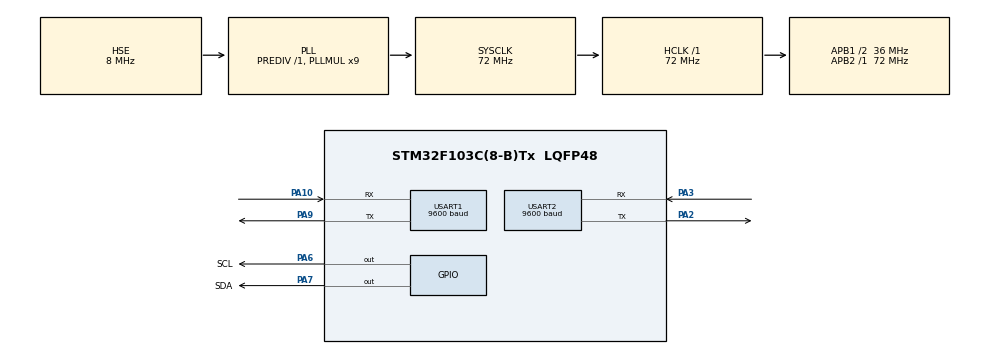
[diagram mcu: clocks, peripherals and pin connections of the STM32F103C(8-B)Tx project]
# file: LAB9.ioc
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FREERTOS.Queues01=uartRxQueue,64,uint8_t,0,Dynamic,NULL,NULL;frameQueue,3,RxFrame_t,0,Dynamic,NULL,NULL
FREERTOS.Tasks01=TaskUartRx,32,128,StartTaskUartRx,Default,NULL,Dynamic,NULL,NULL;TaskDisplay,8,256,StartTaskDisplay,Default,NULL,Dynamic,NULL,NULL
FREERTOS.configCHECK_FOR_STACK_OVERFLOW=2
FREERTOS.configTOTAL_HEAP_SIZE=4096
FREERTOS.configUSE_MALLOC_FAILED_HOOK=1
Mcu.Family=STM32F1
Mcu.Name=STM32F103C(8-B)Tx
Mcu.Package=LQFP48
NVIC.PriorityGroup=NVIC_PRIORITYGROUP_4
NVIC.USART1_IRQn=true\:5\:0\:false\:false\:true\:true\:true\:true\:true
NVIC.USART2_IRQn=true\:5\:0\:false\:false\:true\:true\:true\:true\:true
PA10.Mode=Asynchronous
PA10.Signal=USART1_RX
PA2.Mode=Asynchronous
PA2.Signal=USART2_TX
PA3.Mode=Asynchronous
PA3.Signal=USART2_RX
PA6.GPIO_Label=SCL
PA6.GPIO_ModeDefaultOutputPP=GPIO_MODE_OUTPUT_OD
PA6.GPIO_PuPd=GPIO_PULLUP
PA6.GPIO_Speed=GPIO_SPEED_FREQ_HIGH
PA6.PinState=GPIO_PIN_SET
PA6.Signal=GPIO_Output
PA7.GPIO_Label=SDA
PA7.GPIO_ModeDefaultOutputPP=GPIO_MODE_OUTPUT_OD
PA7.GPIO_PuPd=GPIO_PULLUP
PA7.GPIO_Speed=GPIO_SPEED_FREQ_HIGH
PA7.PinState=GPIO_PIN_SET
PA7.Signal=GPIO_Output
PA9.Mode=Asynchronous
PA9.Signal=USART1_TX
PC14-OSC32_IN.Mode=LSE-External-Oscillator
PC14-OSC32_IN.Signal=RCC_OSC32_IN
PC15-OSC32_OUT.Mode=LSE-External-Oscillator
PC15-OSC32_OUT.Signal=RCC_OSC32_OUT
PD0-OSC_IN.Mode=HSE-External-Oscillator
PD0-OSC_IN.Signal=RCC_OSC_IN
PD1-OSC_OUT.Mode=HSE-External-Oscillator
PD1-OSC_OUT.Signal=RCC_OSC_OUT
ProjectManager.HeapSize=0x200
ProjectManager.StackSize=0x400
ProjectManager.TargetToolchain=CMake
RCC.AHBFreq_Value=72000000
RCC.APB1CLKDivider=RCC_HCLK_DIV2
RCC.APB1Freq_Value=36000000
RCC.APB1TimFreq_Value=72000000
RCC.APB2Freq_Value=72000000
RCC.APB2TimFreq_Value=72000000
RCC.HCLKFreq_Value=72000000
RCC.PLLMUL=RCC_PLL_MUL9
RCC.PLLSourceVirtual=RCC_PLLSOURCE_HSE
RCC.SYSCLKFreq_VALUE=72000000
RCC.SYSCLKSource=RCC_SYSCLKSOURCE_PLLCLK
RCC.USBFreq_Value=72000000
USART1.BaudRate=9600
USART1.VirtualMode=VM_ASYNC
USART2.BaudRate=9600
USART2.VirtualMode=VM_ASYNC
VP_FREERTOS_VS_CMSIS_V2.Mode=CMSIS_V2
VP_SYS_VS_ND.Mode=No_Debug
board=custom

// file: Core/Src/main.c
/* USER CODE BEGIN Header */
/**
  ******************************************************************************
  * @file    main.c
  * @brief   分拣器控制器（LAB9）
  *
  * 功能：
  *   接收上位机下发的分拣指令，解析出四个方向各有哪些货物，
  *   在 OLED 上以「上 / 下 / 左 / 右 + 货物名」四行显示。
  *
  * 下行报文（USART1，9600 8N1）：
  *   {"Down":"GoodC,GoodD","Up":"GoodA","Left":"","Right":""}\r\n
  *   货物名前的 "Good" 前缀不区分大小写，显示前会被去掉。
  *
  * 帧完整性判定：只有同时见到 '}' 与行结束符 '\n' 才认为一帧完整，
  *               避免把半截 JSON 当成完整帧解析。
  *
  * USART2 作为调试输出口，上电打印一次 "UART READY"。
  *
  * 模块划分：
  *   OLED/oled.c                 SSD1306 驱动（8x16 字符 + 16x16 汉字）
  *   SOFT_I2C/soft_i2c.c         软件模拟 I²C
  *   JSON_PARSER/json_parser.c   从 JSON 中取字段、去 "Good" 前缀
  ******************************************************************************
  */
/* USER CODE END Header */
#include "main.h"
#include "cmsis_os.h"
#include "usart.h"
#include "gpio.h"

/* USER CODE BEGIN Includes */
#include "oled.h"
#include "json_parser.h"
#include "uart_rx.h"
#include <string.h>
#include <stdint.h>
/* USER CODE END Includes */

/* USER CODE BEGIN PV */

/* 串口单字节接收缓冲（交给 HAL 使用） */
uint8_t rx_byte;

/* 队列由 CubeMX 在 freertos.c 里创建
   （FREERTOS -> Tasks and Queues -> Queues） */
extern osMessageQueueId_t uartRxQueueHandle;   /* 中断收字节 -> TaskUartRx */

/* 裸机版那套 uart_rx_buf / rx_idx / rx_saw_brace / frame_buffer / frame_ready
   全部删掉了：
     - 攒帧逻辑搬进了 UART_RX/uart_rx.c（由 TaskUartRx 调用）
     - "中断发布整帧、主循环读取"的双缓冲被 frameQueue 取代
   原来的单缓冲有个真实缺陷：刷屏要 60ms，这期间到达的新帧会直接覆盖掉
   上一帧。现在帧进队列，队列满时明确丢最旧的一帧（见 freertos.c 的
   TaskUartRx），主机最后发的那条指令不会丢。 */

/* USER CODE END PV */

void SystemClock_Config(void);
void MX_FREERTOS_Init(void);
/* USER CODE BEGIN PFP */
void App_ProcessFrame(const char *line);
/* USER CODE END PFP */

/* USER CODE BEGIN 0 */

/**
  * @brief  处理一帧分拣指令：解析四个方向 -> 去 Good 前缀 -> 刷新 OLED
  * @param  line 一整帧 JSON，由 TaskDisplay 从 frameQueue 取出后传入
  * @note   由 TaskDisplay 调用（最低优先级，刷一屏约 60ms）。
  *
  *         裸机版这里要先关中断把 frame_buffer 整个拷进 local_buf 再解析；
  *         现在字节走队列、帧也走队列，传进来的本来就是任务私有的一份副本，
  *         那 256 字节的拷贝和临界区可以整个删掉。
  */
void App_ProcessFrame(const char *line)
{
    char down[30]  = {0};//作用是存储从JSON中解析出来的"Down"方向的货物名
    char up[30]    = {0};//作用是存储从JSON中解析出来的"Up"方向的货物名
    char left[30]  = {0};//作用是存储从JSON中解析出来的"Left"方向的货物名
    char right[30] = {0};//作用是存储从JSON中解析出来的"Right"方向的货物名

    Json_GetValue(line, "Down",  down,  sizeof(down));
    Json_GetValue(line, "Up",    up,    sizeof(up));
    Json_GetValue(line, "Left",  left,  sizeof(left));
    Json_GetValue(line, "Right", right, sizeof(right));

    /* 去掉货物名前的 "Good" 前缀，例如 "GoodA,GoodB" -> "A,B" */
    Json_StripGoodPrefix(down,  sizeof(down));
    Json_StripGoodPrefix(up,    sizeof(up));
    Json_StripGoodPrefix(left,  sizeof(left));
    Json_StripGoodPrefix(right, sizeof(right));

    /* 四行显示：方向用 16x16 汉字，货物名用 8x16 字符 */
    OLED_Clear();
    OLED_ShowChinese(0, 0, 0);      /* 上 */
    OLED_ShowString(20, 0, up);
    OLED_ShowChinese(0, 2, 1);      /* 下 */
    OLED_ShowString(20, 2, down);
    OLED_ShowChinese(0, 4, 2);      /* 左 */
    OLED_ShowString(20, 4, left);
    OLED_ShowChinese(0, 6, 3);      /* 右 */
    OLED_ShowString(20, 6, right);
}

/* USER CODE END 0 */

int main(void)
{

  /* MCU Configuration--------------------------------------------------------*/

  /* Reset of all peripherals, Initializes the Flash interface and the Systick. */
  HAL_Init();

  /* Configure the system clock */
  SystemClock_Config();

  /* Initialize all configured peripherals */
  MX_GPIO_Init();
  MX_USART1_UART_Init();
  MX_USART2_UART_Init();
  /* USER CODE BEGIN 2 */
    SoftI2C_Init();
    OLED_Init();
    OLED_Clear();
    OLED_ShowMiniStr(0, 2, "WAIT DATA");

    /* 调试口打招呼。长度用 strlen 取，不手写数字 */
    {
        static const char msg_ready[] = "UART READY\r\n";
        HAL_UART_Transmit(&huart2, (uint8_t *)msg_ready, (uint16_t)strlen(msg_ready), 50);
    }

    /* 串口接收不在这里使能！
       要等到 uartRxQueue 建好之后（见 freertos.c 的 USER CODE BEGIN RTOS_THREADS）。
       在这里调 HAL_UART_Receive_IT 的话，从中断使能到 MX_FREERTOS_Init() 建好队列
       之间有窗口，这期间到达的字节会因为句柄还是 NULL 被静默丢掉。 */
  /* USER CODE END 2 */

  /* Init scheduler */
  osKernelInitialize();  /* Call init function for freertos objects (in cmsis_os2.c) */
  MX_FREERTOS_Init();

  /* Start scheduler */
  osKernelStart();

  /* We should never get here as control is now taken by the scheduler */

  /* Infinite loop */
  /* USER CODE BEGIN WHILE */
    /* 控制权已经交给调度器：osKernelStart() 不会返回。
       原先的主循环（查 frame_ready -> ProcessFrame -> HAL_Delay(50)）
       已经拆成 freertos.c 里的两个任务：
         TaskUartRx —— 从 uartRxQueue 取字节，攒成整帧丢进 frameQueue
         TaskDisplay —— 从 frameQueue 取帧，解析并刷 OLED */
    while (1)
    {
    }
    /* USER CODE END WHILE */

}

void SystemClock_Config(void)
{
  RCC_OscInitTypeDef RCC_OscInitStruct = {0};
  RCC_ClkInitTypeDef RCC_ClkInitStruct = {0};

  /** Initializes the RCC Oscillators according to the specified parameters
  * in the RCC_OscInitTypeDef structure.
  */
  RCC_OscInitStruct.OscillatorType = RCC_OSCILLATORTYPE_HSE;
  RCC_OscInitStruct.HSEState = RCC_HSE_ON;
  RCC_OscInitStruct.HSEPredivValue = RCC_HSE_PREDIV_DIV1;
  RCC_OscInitStruct.HSIState = RCC_HSI_ON;
  RCC_OscInitStruct.PLL.PLLState = RCC_PLL_ON;
  RCC_OscInitStruct.PLL.PLLSource = RCC_PLLSOURCE_HSE;
  RCC_OscInitStruct.PLL.PLLMUL = RCC_PLL_MUL9;
  if (HAL_RCC_OscConfig(&RCC_OscInitStruct) != HAL_OK)
  {
    Error_Handler();
  }

  /** Initializes the CPU, AHB and APB buses clocks
  */
  RCC_ClkInitStruct.ClockType = RCC_CLOCKTYPE_HCLK|RCC_CLOCKTYPE_SYSCLK
                              |RCC_CLOCKTYPE_PCLK1|RCC_CLOCKTYPE_PCLK2;
  RCC_ClkInitStruct.SYSCLKSource = RCC_SYSCLKSOURCE_PLLCLK;
  RCC_ClkInitStruct.AHBCLKDivider = RCC_SYSCLK_DIV1;
  RCC_ClkInitStruct.APB1CLKDivider = RCC_HCLK_DIV2;
  RCC_ClkInitStruct.APB2CLKDivider = RCC_HCLK_DIV1;

  if (HAL_RCC_ClockConfig(&RCC_ClkInitStruct, FLASH_LATENCY_2) != HAL_OK)
  {
    Error_Handler();
  }
}

/* USER CODE BEGIN 4 */

/**
  * @brief  串口1 接收完成回调（每收到一个字节触发一次）
  * @note   中断里只做一件事：把字节投进 uartRxQueue，立刻返回。
  *
  *         原来在这里干的重活（逐字节攒进 uart_rx_buf、判 '}' 和 '\n'、
  *         memcpy 整帧到 frame_buffer）全部搬进了 UART_RX/uart_rx.c，
  *         由 TaskUartRx 调用 —— 中断越短越好。
  *
  *         osMessageQueuePut 是 ISR 安全的（靠 __get_IPSR() 自动分辨），
  *         但在中断里超时参数必须是 0。
  *
  *         ⚠ 本函数在 USART1 中断里跑，它的抢占优先级必须是 5
  *         （configLIBRARY_MAX_SYSCALL_INTERRUPT_PRIORITY），
  *         见 usart.c 里的 HAL_NVIC_SetPriority。优先级比 5 高（数值更小）
  *         的 ISR 调 FreeRTOS API 是非法的。
  */
void HAL_UART_RxCpltCallback(UART_HandleTypeDef *huart)
{
    if (huart->Instance == USART1)
    {
        (void)osMessageQueuePut(uartRxQueueHandle, &rx_byte, 0U, 0U);

        HAL_UART_Receive_IT(&huart1, &rx_byte, 1);   /* 重新使能接收 */
    }
}

/**
  * @brief  串口错误回调（溢出 ORE / 帧错 / 噪声 / 校验错）
  * @note   必须实现它，否则一次接收溢出就会让 USART1【永久失聪】。
  *
  *         为什么会上电就溢出：
  *           MX_USART1_UART_Init() 里 Mode = UART_MODE_TX_RX，
  *           接收器从那一刻起就在工作，但 RXNEIE 要等到 freertos.c 里的
  *           HAL_UART_Receive_IT() 才打开 —— 中间隔着 OLED_Init() 的
  *           HAL_Delay(100) 和两次清屏，约 250ms。
  *           这期间到达的字节没人读 DR：第 1 个置 RXNE，第 2 个起 ORE 置位。
  *
  *         而 HAL 把 ORE 当"阻塞性错误"处理（stm32f1xx_hal_uart.c:2411），
  *         中断里的顺序是：
  *           ① UART_Receive_IT() 读走 DR（清掉 ORE），回调里我们重新武装 RXNEIE
  *           ② 紧接着 UART_EndRxTransfer() 又把 RXNEIE 关掉
  *         结果是 RXNEIE 恒为 0，串口静默死亡直到复位 ——
  *         调度器、显示都正常，只是再也收不到一个字节，极难定位。
  *
  *         这里把接收重新武装起来，把"永久失聪"降级成"丢一帧"。
  *         HAL 在回调返回后会把 huart->ErrorCode 清掉，不用我们管。
  */
void HAL_UART_ErrorCallback(UART_HandleTypeDef *huart)
{
    if (huart->Instance == USART1)
    {
        /* UART_EndRxTransfer() 已把 RxState 置回 READY，所以这里能重新武装。
           万一返回 HAL_BUSY（说明别的路径已经武装过了），忽略即可。 */
        (void)HAL_UART_Receive_IT(&huart1, &rx_byte, 1);
    }
}

/* USER CODE END 4 */

void Error_Handler(void)
{
  __disable_irq();
  while (1)
  {
  }
}

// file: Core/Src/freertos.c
/* USER CODE BEGIN Header */
/**
  ******************************************************************************
  * File Name          : freertos.c
  * Description        : Code for freertos applications
  ******************************************************************************
  * @attention
  *
  * Copyright (c) 2026 STMicroelectronics.
  * All rights reserved.
  *
  * This software is licensed under terms that can be found in the LICENSE file
  * in the root directory of this software component.
  * If no LICENSE file comes with this software, it is provided AS-IS.
  *
  ******************************************************************************
  */
/* USER CODE END Header */

#include "FreeRTOS.h"
#include "task.h"
#include "main.h"
#include "cmsis_os.h"

/* USER CODE BEGIN Includes */
#include "usart.h"
#include "uart_rx.h"

/* main.c 里的应用逻辑。任务体只负责按节拍调用它，
   业务代码留在 main.c，CubeMX 重新生成时不会被冲掉。 */
extern void App_ProcessFrame(const char *line);

/* main.c 里的串口单字节接收缓冲（定义在 main.c 的 USER CODE PV） */
extern uint8_t rx_byte;
/* USER CODE END Includes */

/* Definitions for TaskUartRx */
osThreadId_t TaskUartRxHandle;
const osThreadAttr_t TaskUartRx_attributes = {
  .name = "TaskUartRx",
  .stack_size = 128 * 4,
  .priority = (osPriority_t) osPriorityAboveNormal,
};
/* Definitions for TaskDisplay */
osThreadId_t TaskDisplayHandle;
const osThreadAttr_t TaskDisplay_attributes = {
  .name = "TaskDisplay",
  .stack_size = 256 * 4,
  .priority = (osPriority_t) osPriorityLow,
};
/* Definitions for uartRxQueue */
osMessageQueueId_t uartRxQueueHandle;
const osMessageQueueAttr_t uartRxQueue_attributes = {
  .name = "uartRxQueue"
};
/* Definitions for frameQueue */
osMessageQueueId_t frameQueueHandle;
const osMessageQueueAttr_t frameQueue_attributes = {
  .name = "frameQueue"
};

void StartTaskUartRx(void *argument);
void StartTaskDisplay(void *argument);

void MX_FREERTOS_Init(void); /* (MISRA C 2004 rule 8.1) */

/* Hook prototypes */
void vApplicationStackOverflowHook(xTaskHandle xTask, signed char *pcTaskName);
void vApplicationMallocFailedHook(void);

/* USER CODE BEGIN 4 */
void vApplicationStackOverflowHook(xTaskHandle xTask, signed char *pcTaskName)
{
   /* 任务栈溢出了。停在这里而不是继续跑，
      否则踩坏的是别的任务的数据，症状会离现场很远。 */
   (void)xTask;
   (void)pcTaskName;
   Error_Handler();
}
/* USER CODE END 4 */

/* USER CODE BEGIN 5 */
void vApplicationMallocFailedHook(void)
{
   /* 堆不够用了（configTOTAL_HEAP_SIZE 配小了）。
      CubeMX 的 FreeRTOS 界面里能看到 TOTAL_HEAP_USED，
      加任务/队列之后记得回头核一下。 */
   Error_Handler();
}
/* USER CODE END 5 */

void MX_FREERTOS_Init(void) {

  /* Create the queue(s) */
  /* creation of uartRxQueue */
  uartRxQueueHandle = osMessageQueueNew (64, sizeof(uint8_t), &uartRxQueue_attributes);

  /* creation of frameQueue */
  frameQueueHandle = osMessageQueueNew (3, sizeof(RxFrame_t), &frameQueue_attributes);

  /* Create the thread(s) */
  /* creation of TaskUartRx */
  TaskUartRxHandle = osThreadNew(StartTaskUartRx, NULL, &TaskUartRx_attributes);

  /* creation of TaskDisplay */
  TaskDisplayHandle = osThreadNew(StartTaskDisplay, NULL, &TaskDisplay_attributes);

  /* USER CODE BEGIN RTOS_THREADS */
  /* add threads, ... */

  /* 串口接收放在这里使能，而不是 main() 的 USER CODE 2 里。
     为什么：中断回调要把字节投进 uartRxQueue，而队列是上面刚建好的。
     如果提前到 main() 里使能，从"中断打开"到"队列建好"之间有个窗口，
     这期间到达的字节会因为句柄还是 NULL 而被 osMessageQueuePut 直接丢掉
     （CMSIS 包装层返回 osErrorParameter，不会崩，但字节没了）。

     放在这里之后，即使调度器还没启动，字节也能正常入队，
     TaskUartRx 起来后照样能取到 —— 一个都不丢。 */
  HAL_UART_Receive_IT(&huart1, &rx_byte, 1);
  /* USER CODE END RTOS_THREADS */

}

void StartTaskUartRx(void *argument)//这个任务是用来接收串口数据的，接收到的数据会被放入队列中
{
  /* USER CODE BEGIN StartTaskUartRx */
  /* 任务私有：凑满的整帧先放这儿，再投进 frameQueue。
     必须写成 static —— 它是 256 字节，放栈上会把本任务的
     128 words（512 字节）栈直接撑爆。 */
  static RxFrame_t frame;//作用是存储接收到的完整帧
  uint8_t          b;//作用是存储接收到的单个字节

  /* 本任务只做"搬字节 + 攒帧"，很快，所以优先级给 AboveNormal：
     STM32F1 的 UART 没有 FIFO，收一个字节就要进一次中断，
     不能让别的任务把字节在队列里堆着不管。 */
  for(;;)
  {
    /* 阻塞等一个字节。没有数据时本任务完全不被调度，不占 CPU */
    if (osMessageQueueGet(uartRxQueueHandle, &b, NULL, osWaitForever) != osOK)
    {
      continue;
    }

    /* 攒帧：'}' 与 '\n' 双标记判定，凑满一帧就投给显示任务 */
    if (UartRx_Feed(b, &frame))//作用是把接收到的字节喂给攒帧状态机，凑满一帧就返回 1
    {
      /* 投递整帧给显示任务。osWaitForever 不行：显示任务在忙时不能把收字节的任务堵死。 */
      /* USER CODE BEGIN StartTaskUartRx_PutFrame */
      /* 不等待投递 —— 显示任务在忙时不能把收字节的任务堵死。 */
      if (osMessageQueuePut(frameQueueHandle, &frame, 0U, 0U) != osOK)//判断队列是否满了，如果满了就丢掉最旧的一帧，给最新的腾位置
      {
        /* 队列满了：丢掉【最旧】的一帧，给最新的腾位置。
           不能按默认行为丢最新的 —— 这块屏显示的是"当前分拣状态"，
           主机最后发的那条指令必须能显示出来。

           队列真会满吗？会。实际协议帧约 50~60 字节，9600 波特下传输
           约 60ms，而刷屏要 55~60ms —— 两者相当，主机连发时就会堆积。
           （按单帧 256 字节的上限去推"永远填不满"是错的。） */
        RxFrame_t dropped;
        (void)osMessageQueueGet(frameQueueHandle, &dropped, NULL, 0U);
        (void)osMessageQueuePut(frameQueueHandle, &frame, 0U, 0U);
      }
      /* USER CODE END StartTaskUartRx_PutFrame */
    }
  }
  /* USER CODE END StartTaskUartRx */
}

void StartTaskDisplay(void *argument)
{
  /* USER CODE BEGIN StartTaskDisplay */
  /* 任务私有：从队列取出来的帧。同样是 256 字节，写 static 不占栈。 */
  static RxFrame_t frame;

  /* 最慢的任务：解析一帧 + 刷一整屏 OLED 约 60ms
     （软件 I²C 要清 1024 字节显存 + 画 4 个汉字 + 4 段字符串）。
     压到最低优先级，收字节的任务不会被它拖住。

     裸机版这里是主循环里的 ProcessFrame()：刷屏那 60ms 里到达的新帧，
     会被单缓冲 frame_buffer 直接覆盖掉（丢的是哪一帧完全看时序）。
     现在帧走队列，队列满时明确丢最旧的（见 TaskUartRx），
     主机连发时最后一条指令也一定能显示出来 —— 这就是本任务存在的理由。 */
  for(;;)
  {
    if (osMessageQueueGet(frameQueueHandle, &frame, NULL, osWaitForever) == osOK)
    {
      App_ProcessFrame(frame.text);
    }
  }
  /* USER CODE END StartTaskDisplay */
}
